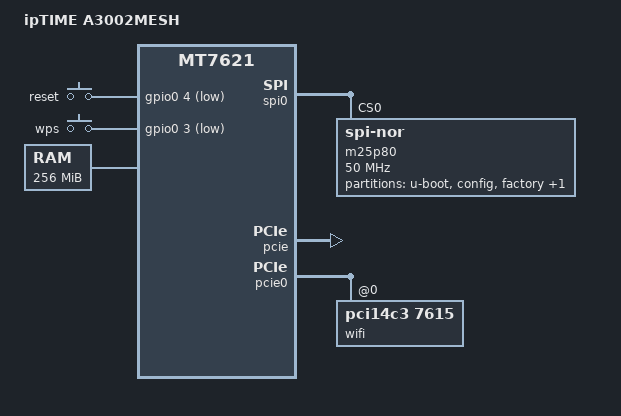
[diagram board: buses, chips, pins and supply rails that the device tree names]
/dts-v1/;

#include "mt7621.dtsi"

#include <dt-bindings/gpio/gpio.h>
#include <dt-bindings/input/input.h>

/ {
	compatible = "iptime,a3002me", "mediatek,mt7621-soc";
	model = "ipTIME A3002MESH";

	chosen {
		bootargs = "console=ttyS0,57600";
	};

	keys {
		compatible = "gpio-keys-polled";
		poll-interval = <20>;

		reset {
			label = "reset";
			gpios = <&gpio0 4 GPIO_ACTIVE_LOW>;
			linux,code = <KEY_RESTART>;
		};

		wps {
			label = "wps";
			gpios = <&gpio0 3 GPIO_ACTIVE_LOW>;
			linux,code = <KEY_WPS_BUTTON>;
		};
	};

	memory@0 {
		device_type = "memory";
		reg = <0x0 0x10000000>;
	};
};

&spi0 {
	status = "okay";

	m25p80@0 {
		compatible = "jedec,spi-nor";
		reg = <0>;
		spi-max-frequency = <50000000>;

		partitions {
			compatible = "fixed-partitions";
			#address-cells = <1>;
			#size-cells = <1>;

			uboot: partition@0 {
				label = "u-boot";
				reg = <0x0 0x20000>;
				read-only;
			};

			partition@20000 {
				label = "config";
				reg = <0x20000 0x10000>;
				read-only;
			};

			factory: partition@30000 {
				label = "factory";
				reg = <0x30000 0x10000>;
				read-only;
			};

			partition@40000 {
				compatible = "denx,uimage";
				label = "firmware";
				reg = <0x40000 0xfc0000>;
			};
		};
	};
};

&pcie {
	status = "okay";
};

&pcie0 {
	wifi@0,0 {
		compatible = "pci14c3,7615";
		reg = <0x0000 0 0 0 0>;
		mediatek,mtd-eeprom = <&factory 0x0000>;
	};
};

&ethernet {
	mtd-mac-address = <&uboot 0x1fc20>;
};

&pinctrl {
	state_default: pinctrl0 {
		gpio {
			ralink,group = "wdt", "jtag", "mdio";
			ralink,function = "gpio";
		};
	};
};
